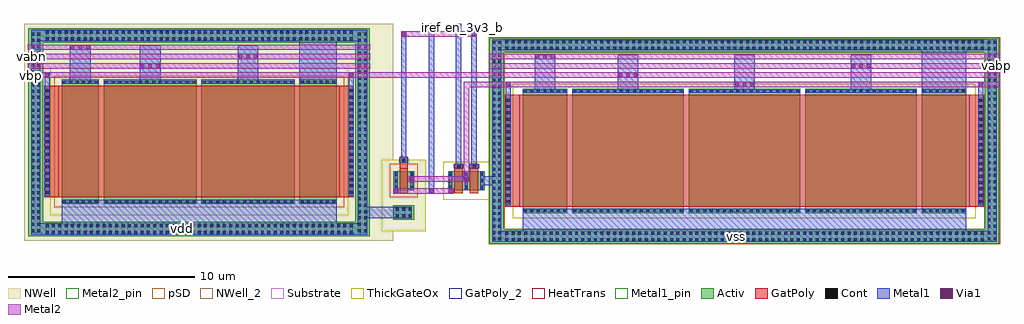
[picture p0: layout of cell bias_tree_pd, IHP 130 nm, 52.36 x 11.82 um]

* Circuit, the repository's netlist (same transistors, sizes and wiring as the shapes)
* SPDX-FileCopyrightText: 2026 Christoph Maier
* SPDX-License-Identifier: Apache-2.0
* bias_tree_pd as drawn by agent F (C2 2026-10-31): the sheet's bias_tree_pd WITHOUT Xd = bias_diodes (BP, BN,
* BNC, BPC are drawn in the tails, sinks and cascode cells); the library dummies as devices.
.SUBCKT bias_tree_pd vdd vss iref vbp vbn vbpc vbnc vabp vabn en_3v3 en_3v3_b
MTGN iref en_3v3 ni vss sg13_hv_nmos w=1u l=0.45u ng=1 m=1
MTGP iref en_3v3_b ni vdd sg13_hv_pmos w=1u l=0.45u ng=1 m=1
MTDN ni en_3v3_b vss vss sg13_hv_nmos w=1u l=0.45u ng=1 m=1
MNI ni ni vss vss sg13_hv_nmos w=6u l=6u ng=1 m=1
MNBP vbp ni vss vss sg13_hv_nmos w=6u l=6u ng=1 m=1
MNBPC vbpc ni vss vss sg13_hv_nmos w=2.4u l=6u ng=1 m=1
MNABP vabp ni vss vss sg13_hv_nmos w=6u l=6u ng=1 m=1
MNdummy vss ni vss vss sg13_hv_nmos w=2.4u l=6u ng=1 m=1
MPBN vbn vbp vdd vdd sg13_hv_pmos w=5u l=6u ng=1 m=1
MPBNC vbnc vbp vdd vdd sg13_hv_pmos w=2u l=6u ng=1 m=1
MPABN vabn vbp vdd vdd sg13_hv_pmos w=5u l=6u ng=1 m=1
MPdummy vdd vbp vdd vdd sg13_hv_pmos w=2u l=6u ng=1 m=1
.ENDS bias_tree_pd

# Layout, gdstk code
from math import pi, radians
import gdstk
lib = gdstk.Library(unit=1e-6, precision=1e-09)
def R(c, l, rs):  # rectangles x0, y0, x1, y1
    for r in rs: c.add(gdstk.rectangle(r[:2], r[2:], *l))
def A(c, l, x, y, w, h, nx, ny, dx, dy):  # array of equal rectangles
    R(c, l, [(x+i*dx, y+j*dy, x+i*dx+w, y+j*dy+h) for i in range(nx) for j in range(ny)])
Activ = (1, 0)
GatPoly = (5, 0)
GatPoly_2 = (5, 2)
Cont = (6, 0)
Metal1 = (8, 0)
Metal1_pin = (8, 2)
Metal2 = (10, 0)
Metal2_pin = (10, 2)
pSD = (14, 0)
Via1 = (19, 0)
NWell = (31, 0)
NWell_2 = (31, 2)
Substrate = (40, 0)
ThickGateOx = (44, 0)
HeatTrans = (51, 0)

pmoshv_8 = lib.new_cell('pmosHV$8')
R(pmoshv_8, Activ, [(0,0,0.3,0.3), (0,0,6.68,2), (6.38,0,6.68,0.3)])
R(pmoshv_8, GatPoly, [(0.34,-0.18,6.34,2.18)])
R(pmoshv_8, GatPoly_2, [(0.34,-0.18,6.34,2.18)])
A(pmoshv_8, Cont, 0.07, 0.07, 0.16, 0.16, 1, 6, 0, 0.34)
A(pmoshv_8, Cont, 6.45, 0.07, 0.16, 0.16, 1, 6, 0, 0.34)
R(pmoshv_8, Metal1, [(0.07,0,0.23,2), (6.45,0,6.61,2)])
R(pmoshv_8, Metal1_pin, [(0.07,0,0.23,2), (6.45,0,6.61,2)])
R(pmoshv_8, pSD, [(-0.18,-0.4,6.86,2.4)])
R(pmoshv_8, NWell, [(-0.62,-0.62,7.3,2.62)])
R(pmoshv_8, ThickGateOx, [(-0.62,-0.62,7.3,2.62)])
R(pmoshv_8, HeatTrans, [(0.34,-0.18,6.34,2.18)])
pmoshv_8.add(gdstk.Label('pmosHV', (3.34,1), layer=63, texttype=0))
pmoshv_8.add(gdstk.Label('pmos', (3.34,1), layer=51, texttype=0))

pmoshv_1 = lib.new_cell('pmosHV$1')
R(pmoshv_1, Activ, [(0,0,0.3,0.3), (0,0,6.68,5), (6.38,0,6.68,0.3)])
R(pmoshv_1, GatPoly, [(0.34,-0.18,6.34,5.18)])
R(pmoshv_1, GatPoly_2, [(0.34,-0.18,6.34,5.18)])
A(pmoshv_1, Cont, 0.07, 0.07, 0.16, 0.16, 1, 4, 0, 0.36)
A(pmoshv_1, Cont, 6.45, 0.07, 0.16, 0.16, 1, 4, 0, 0.36)
A(pmoshv_1, Cont, 0.07, 1.515, 0.16, 0.16, 1, 3, 0, 0.36)
A(pmoshv_1, Cont, 6.45, 1.515, 0.16, 0.16, 1, 3, 0, 0.36)
A(pmoshv_1, Cont, 0.07, 2.6, 0.16, 0.16, 1, 3, 0, 0.36)
A(pmoshv_1, Cont, 6.45, 2.6, 0.16, 0.16, 1, 3, 0, 0.36)
A(pmoshv_1, Cont, 0.07, 3.685, 0.16, 0.16, 1, 3, 0, 0.36)
A(pmoshv_1, Cont, 6.45, 3.685, 0.16, 0.16, 1, 3, 0, 0.36)
R(pmoshv_1, Cont, [(0.07,4.77,0.23,4.93), (6.45,4.77,6.61,4.93)])
R(pmoshv_1, Metal1, [(0.07,0,0.23,5), (6.45,0,6.61,5)])
R(pmoshv_1, Metal1_pin, [(0.07,0,0.23,5), (6.45,0,6.61,5)])
R(pmoshv_1, pSD, [(-0.18,-0.4,6.86,5.4)])
R(pmoshv_1, NWell, [(-0.62,-0.62,7.3,5.62)])
R(pmoshv_1, ThickGateOx, [(-0.62,-0.62,7.3,5.62)])
R(pmoshv_1, HeatTrans, [(0.34,-0.18,6.34,5.18)])
pmoshv_1.add(gdstk.Label('pmosHV', (3.34,2.5), layer=63, texttype=0))
pmoshv_1.add(gdstk.Label('pmos', (3.34,2.5), layer=51, texttype=0))

ntap1_28 = lib.new_cell('ntap1$28')
R(ntap1_28, Activ, [(0,0,0.78,11.155)])
A(ntap1_28, Cont, 0.14, 0.225, 0.16, 0.16, 1, 32, 0, 0.34)
A(ntap1_28, Cont, 0.48, 0.225, 0.16, 0.16, 1, 32, 0, 0.34)
R(ntap1_28, Metal1, [(0.14,0.175,0.64,10.975)])
R(ntap1_28, Metal1_pin, [(0.14,0.175,0.64,10.975), (0.14,0.225,0.64,10.925)])
R(ntap1_28, NWell, [(-0.24,-0.24,1.02,11.395), (0,0,0.78,11.155)])
R(ntap1_28, NWell_2, [(0,0,0.78,11.155)])
ntap1_28.add(gdstk.Label('well', (0.39,0.01), layer=63, texttype=0))
ntap1_28.add(gdstk.Label('well', (0.39,0.01), layer=31, texttype=0))

ntap1_29 = lib.new_cell('ntap1$29')
R(ntap1_29, Activ, [(0,0,16.75,0.78)])
A(ntap1_29, Cont, 0.135, 0.14, 0.16, 0.16, 49, 2, 0.34, 0.34)
R(ntap1_29, Metal1, [(0.135,0.09,16.615,0.69)])
R(ntap1_29, Metal1_pin, [(0.135,0.09,16.615,0.69), (0.135,0.14,16.615,0.64)])
R(ntap1_29, NWell, [(-0.24,-0.24,16.99,1.02), (0,0,16.75,0.78)])
R(ntap1_29, NWell_2, [(0,0,16.75,0.78)])
ntap1_29.add(gdstk.Label('well', (8.375,0.01), layer=63, texttype=0))
ntap1_29.add(gdstk.Label('well', (8.375,0.01), layer=31, texttype=0))

bias_tree_p = lib.new_cell('bias_tree_p')
R(bias_tree_p, GatPoly, [(-0.93,0.34,-0.18,6.34), (14.93,0.34,15.68,6.34)])
A(bias_tree_p, Cont, -0.86, 0.54, 0.16, 0.16, 1, 17, 0, 0.34)
A(bias_tree_p, Cont, 15.45, 0.54, 0.16, 0.16, 1, 17, 0, 0.34)
R(bias_tree_p, Metal1, [(-1.64,-1.65,16.39,-1.565), (-1.24,-1.65,-0.765,-1.05), (0,-1.65,14.75,0.23), (15.515,-1.65,15.99,-1.05), (-0.91,0.41,-0.65,7.055), (15.4,0.41,15.66,7.055), (0.445,6.45,1.555,8.505), (4.195,6.45,5.305,8.505), (9.445,6.45,10.555,8.505), (12.75,6.45,14.75,8.825), (-1.24,8.725,-0.765,9.325), (15.515,8.725,15.99,9.325), (-1.64,9.235,16.39,9.325)])
R(bias_tree_p, Metal1_pin, [(-0.865,-1.65,15.615,-1.05)])
A(bias_tree_p, Metal2_pin, -1.81, 6.755, 0.4, 0.29, 1, 4, 0, 0.5)
A(bias_tree_p, Via1, 4.245, 7.305, 0.19, 0.19, 3, 1, 0.41, 0)
A(bias_tree_p, Via1, 9.495, 7.805, 0.19, 0.19, 3, 1, 0.41, 0)
A(bias_tree_p, Via1, 0.495, 8.305, 0.19, 0.19, 3, 1, 0.41, 0)
R(bias_tree_p, Via1, [(-0.875,6.805,-0.685,6.995), (15.435,6.805,15.625,6.995)])
R(bias_tree_p, NWell, [(-2.02,-1.98,16.77,9.655)])
R(bias_tree_p, ThickGateOx, [(-0.62,-0.62,15.37,7.3)])
bias_tree_p.add(gdstk.FlexPath([(-1.665,6.9),(16.415,6.9)], 0.29, ends="extended", simple_path=True, layer=10, datatype=0))  # Metal2
bias_tree_p.add(gdstk.FlexPath([(-1.665,7.4),(16.415,7.4)], 0.29, ends="extended", simple_path=True, layer=10, datatype=0))  # Metal2
bias_tree_p.add(gdstk.FlexPath([(-1.665,7.9),(16.415,7.9)], 0.29, ends="extended", simple_path=True, layer=10, datatype=0))  # Metal2
bias_tree_p.add(gdstk.FlexPath([(-1.665,8.4),(16.415,8.4)], 0.29, ends="extended", simple_path=True, layer=10, datatype=0))  # Metal2
bias_tree_p.add(gdstk.Reference(pmoshv_8, (0,6.68), rotation=3*pi/2))
r = gdstk.Reference(pmoshv_1, (2.25,6.68), rotation=3*pi/2); r.repetition = gdstk.Repetition(1, 2, v1=(0,0), v2=(5.25,0)); bias_tree_p.add(r)
bias_tree_p.add(gdstk.Reference(pmoshv_8, (12.75,6.68), rotation=3*pi/2))
bias_tree_p.add(gdstk.Reference(ntap1_28, (-1.78,-1.74)))
bias_tree_p.add(gdstk.Reference(ntap1_28, (15.75,-1.74)))
bias_tree_p.add(gdstk.Reference(ntap1_29, (-1,8.635)))
bias_tree_p.add(gdstk.Reference(ntap1_29, (-1,-1.74)))
bias_tree_p.add(gdstk.Label('PBNC', (1,3.34), layer=63, texttype=0))
bias_tree_p.add(gdstk.Label('PBN', (4.75,3.34), layer=63, texttype=0))
bias_tree_p.add(gdstk.Label('PABN', (10,3.34), layer=63, texttype=0))
bias_tree_p.add(gdstk.Label('dummy', (13.75,3.34), layer=63, texttype=0))
bias_tree_p.add(gdstk.Label('vdd', (7.375,-1.35), layer=8, texttype=25))
bias_tree_p.add(gdstk.Label('vbp', (-1.61,6.9), layer=10, texttype=25))
bias_tree_p.add(gdstk.Label('vbn', (-1.61,7.4), layer=10, texttype=25))
bias_tree_p.add(gdstk.Label('vabn', (-1.61,7.9), layer=10, texttype=25))
bias_tree_p.add(gdstk.Label('vbnc', (-1.61,8.4), layer=10, texttype=25))

pmoshv_7 = lib.new_cell('pmosHV$7')
R(pmoshv_7, Activ, [(0,0,0.3,0.3), (0,0,1.13,1), (0.83,0,1.13,0.3)])
R(pmoshv_7, GatPoly, [(0.34,-0.18,0.79,1.18)])
R(pmoshv_7, GatPoly_2, [(0.34,-0.18,0.79,1.18)])
A(pmoshv_7, Cont, 0.07, 0.07, 0.16, 0.16, 1, 3, 0, 0.35)
A(pmoshv_7, Cont, 0.9, 0.07, 0.16, 0.16, 1, 3, 0, 0.35)
R(pmoshv_7, Metal1, [(0.07,0,0.23,1), (0.9,0,1.06,1)])
R(pmoshv_7, Metal1_pin, [(0.07,0,0.23,1), (0.9,0,1.06,1)])
R(pmoshv_7, pSD, [(-0.18,-0.4,1.31,1.4)])
R(pmoshv_7, NWell, [(-0.62,-0.62,1.75,1.62)])
R(pmoshv_7, ThickGateOx, [(-0.62,-0.62,1.75,1.62)])
R(pmoshv_7, HeatTrans, [(0.34,-0.18,0.79,1.18)])
pmoshv_7.add(gdstk.Label('pmosHV', (0.565,0.5), layer=63, texttype=0))
pmoshv_7.add(gdstk.Label('pmos', (0.565,0.5), layer=51, texttype=0))

ntap1_11 = lib.new_cell('ntap1$11')
R(ntap1_11, Activ, [(0,0,1.13,0.78)])
A(ntap1_11, Cont, 0.145, 0.14, 0.16, 0.16, 3, 2, 0.34, 0.34)
R(ntap1_11, Metal1, [(0.145,0.09,0.985,0.69)])
R(ntap1_11, Metal1_pin, [(0.145,0.09,0.985,0.69), (0.145,0.14,0.985,0.64)])
R(ntap1_11, NWell, [(-0.24,-0.24,1.37,1.02), (0,0,1.13,0.78)])
R(ntap1_11, NWell_2, [(0,0,1.13,0.78)])
ntap1_11.add(gdstk.Label('well', (0.565,0.01), layer=63, texttype=0))
ntap1_11.add(gdstk.Label('well', (0.565,0.01), layer=31, texttype=0))

bias_tree_swp = lib.new_cell('bias_tree_swp')
R(bias_tree_swp, GatPoly, [(0.34,1,0.79,1.43), (0.34,1.42,0.79,1.78)])
R(bias_tree_swp, Cont, [(0.485,1.52,0.645,1.68)])
R(bias_tree_swp, Metal1, [(0.315,1.47,0.815,1.73)])
R(bias_tree_swp, Metal1_pin, [(0.145,-1.51,0.545,-0.91), (0.07,0.25,0.23,0.75), (0.9,0.25,1.06,0.75), (0.315,1.47,0.615,1.73)])
R(bias_tree_swp, pSD, [(-0.18,-0.4,1.31,1.4)])
R(bias_tree_swp, NWell, [(-0.62,-2.22,1.75,1.62)])
R(bias_tree_swp, ThickGateOx, [(-0.62,-2.22,1.75,1.62)])
bias_tree_swp.add(gdstk.Reference(pmoshv_7, (0,0)))
bias_tree_swp.add(gdstk.Reference(ntap1_11, (0,-1.6)))
bias_tree_swp.add(gdstk.Label('TGP', (0,0.5), layer=63, texttype=0))
bias_tree_swp.add(gdstk.Label('en_3v3_b', (0.465,1.6), layer=8, texttype=25))
bias_tree_swp.add(gdstk.Label('vdd', (0.345,-1.21), layer=8, texttype=25))
bias_tree_swp.add(gdstk.Label('iref', (0.15,0.5), layer=8, texttype=25))
bias_tree_swp.add(gdstk.Label('ni', (0.98,0.5), layer=8, texttype=25))

nmoshv_5 = lib.new_cell('nmosHV$5')
R(nmoshv_5, Activ, [(0,0,0.3,0.3), (0,0,1.13,1), (0.83,0,1.13,0.3)])
R(nmoshv_5, GatPoly, [(0.34,-0.18,0.79,1.18)])
R(nmoshv_5, GatPoly_2, [(0.34,-0.18,0.79,1.18)])
A(nmoshv_5, Cont, 0.07, 0.07, 0.16, 0.16, 1, 3, 0, 0.35)
A(nmoshv_5, Cont, 0.9, 0.07, 0.16, 0.16, 1, 3, 0, 0.35)
R(nmoshv_5, Metal1, [(0.07,0,0.23,1), (0.9,0,1.06,1)])
R(nmoshv_5, Metal1_pin, [(0.07,0,0.23,1), (0.9,0,1.06,1)])
R(nmoshv_5, ThickGateOx, [(-0.27,-0.52,1.4,1.52)])
R(nmoshv_5, HeatTrans, [(0.34,-0.18,0.79,1.18)])
nmoshv_5.add(gdstk.Label('nmosHV', (0.565,0.5), layer=63, texttype=0))
nmoshv_5.add(gdstk.Label('nmosHV', (0.565,0.5), layer=51, texttype=0))

bias_tree_sw = lib.new_cell('bias_tree_sw')
R(bias_tree_sw, GatPoly, [(0.34,1.18,0.79,1.41), (1.17,1.18,1.62,1.41)])
R(bias_tree_sw, Cont, [(0.485,1.18,0.645,1.34), (1.315,1.18,1.475,1.34)])
R(bias_tree_sw, Metal1, [(0.3,1.18,0.83,1.39), (1.13,1.18,1.66,1.39)])
A(bias_tree_sw, Metal1_pin, 0.07, 0.25, 0.16, 0.5, 3, 1, 0.83, 0)
R(bias_tree_sw, Metal1_pin, [(0.42,1.18,0.71,1.39), (1.25,1.18,1.54,1.39)])
r = gdstk.Reference(nmoshv_5, (0,0)); r.repetition = gdstk.Repetition(2, 1, v1=(0.83,0), v2=(0,0)); bias_tree_sw.add(r)
bias_tree_sw.add(gdstk.Label('TDN', (0.83,0.5), layer=63, texttype=0))
bias_tree_sw.add(gdstk.Label('TGN', (0,0.5), layer=63, texttype=0))
bias_tree_sw.add(gdstk.Label('en_3v3', (0.565,1.285), layer=8, texttype=25))
bias_tree_sw.add(gdstk.Label('en_3v3_b', (1.395,1.285), layer=8, texttype=25))
bias_tree_sw.add(gdstk.Label('vss', (1.81,0.52), layer=8, texttype=25))
bias_tree_sw.add(gdstk.Label('ni', (0.992,0.502), layer=8, texttype=25))
bias_tree_sw.add(gdstk.Label('iref', (0.15,0.5), layer=8, texttype=25))

nmoshv_6 = lib.new_cell('nmosHV$6')
R(nmoshv_6, Activ, [(0,0,0.3,0.3), (0,0,6.68,2.4), (6.38,0,6.68,0.3)])
R(nmoshv_6, GatPoly, [(0.34,-0.18,6.34,2.58)])
R(nmoshv_6, GatPoly_2, [(0.34,-0.18,6.34,2.58)])
A(nmoshv_6, Cont, 0.07, 0.07, 0.16, 0.16, 1, 7, 0, 0.35)
A(nmoshv_6, Cont, 6.45, 0.07, 0.16, 0.16, 1, 7, 0, 0.35)
R(nmoshv_6, Metal1, [(0.07,0,0.23,2.4), (6.45,0,6.61,2.4)])
R(nmoshv_6, Metal1_pin, [(0.07,0,0.23,2.4), (6.45,0,6.61,2.4)])
R(nmoshv_6, ThickGateOx, [(-0.27,-0.52,6.95,2.92)])
R(nmoshv_6, HeatTrans, [(0.34,-0.18,6.34,2.58)])
nmoshv_6.add(gdstk.Label('nmosHV', (3.34,1.2), layer=63, texttype=0))
nmoshv_6.add(gdstk.Label('nmosHV', (3.34,1.2), layer=51, texttype=0))

nmoshv = lib.new_cell('nmosHV')
R(nmoshv, Activ, [(0,0,0.3,0.3), (0,0,6.68,6), (6.38,0,6.68,0.3)])
R(nmoshv, GatPoly, [(0.34,-0.18,6.34,6.18)])
R(nmoshv, GatPoly_2, [(0.34,-0.18,6.34,6.18)])
A(nmoshv, Cont, 0.07, 0.07, 0.16, 0.16, 1, 4, 0, 0.355)
A(nmoshv, Cont, 6.45, 0.07, 0.16, 0.16, 1, 4, 0, 0.355)
A(nmoshv, Cont, 0.07, 1.495, 0.16, 0.16, 1, 4, 0, 0.355)
A(nmoshv, Cont, 6.45, 1.495, 0.16, 0.16, 1, 4, 0, 0.355)
A(nmoshv, Cont, 0.07, 2.92, 0.16, 0.16, 1, 4, 0, 0.355)
A(nmoshv, Cont, 6.45, 2.92, 0.16, 0.16, 1, 4, 0, 0.355)
A(nmoshv, Cont, 0.07, 4.345, 0.16, 0.16, 1, 4, 0, 0.355)
A(nmoshv, Cont, 6.45, 4.345, 0.16, 0.16, 1, 4, 0, 0.355)
R(nmoshv, Cont, [(0.07,5.77,0.23,5.93), (6.45,5.77,6.61,5.93)])
R(nmoshv, Metal1, [(0.07,0,0.23,6), (6.45,0,6.61,6)])
R(nmoshv, Metal1_pin, [(0.07,0,0.23,6), (6.45,0,6.61,6)])
R(nmoshv, ThickGateOx, [(-0.27,-0.52,6.95,6.52)])
R(nmoshv, HeatTrans, [(0.34,-0.18,6.34,6.18)])
nmoshv.add(gdstk.Label('nmosHV', (3.34,3), layer=63, texttype=0))
nmoshv.add(gdstk.Label('nmosHV', (3.34,3), layer=51, texttype=0))

ptap1_26 = lib.new_cell('ptap1$26')
R(ptap1_26, Activ, [(0,0,0.78,11.05)])
A(ptap1_26, Cont, 0.14, 0.175, 0.16, 0.16, 1, 32, 0, 0.34)
A(ptap1_26, Cont, 0.48, 0.175, 0.16, 0.16, 1, 32, 0, 0.34)
R(ptap1_26, Metal1, [(0.14,0.125,0.64,10.925), (0.14,0.175,0.64,10.875)])
R(ptap1_26, Metal1_pin, [(0.14,0.175,0.64,10.875)])
R(ptap1_26, pSD, [(-0.03,-0.03,0.81,11.08)])
R(ptap1_26, Substrate, [(0,0,0.78,11.05)])
ptap1_26.add(gdstk.Label('sub!', (0.39,0.01), layer=63, texttype=0))
ptap1_26.add(gdstk.Label('sub!', (0.39,0.01), layer=40, texttype=0))

ptap1_27 = lib.new_cell('ptap1$27')
R(ptap1_27, Activ, [(0,0,25.8,0.78)])
A(ptap1_27, Cont, 0.07, 0.14, 0.16, 0.16, 76, 2, 0.34, 0.34)
R(ptap1_27, Metal1, [(0.07,0.09,25.73,0.69), (0.07,0.14,25.73,0.64)])
R(ptap1_27, Metal1_pin, [(0.07,0.14,25.73,0.64)])
R(ptap1_27, pSD, [(-0.03,-0.03,25.83,0.81)])
R(ptap1_27, Substrate, [(0,0,25.8,0.78)])
ptap1_27.add(gdstk.Label('sub!', (12.9,0.01), layer=63, texttype=0))
ptap1_27.add(gdstk.Label('sub!', (12.9,0.01), layer=40, texttype=0))

bias_tree_n = lib.new_cell('bias_tree_n')
R(bias_tree_n, GatPoly, [(-0.93,0.34,-0.18,6.34), (23.98,0.34,24.73,6.34)])
A(bias_tree_n, Cont, -0.86, 0.54, 0.16, 0.16, 1, 17, 0, 0.34)
A(bias_tree_n, Cont, 24.5, 0.54, 0.16, 0.16, 1, 17, 0, 0.34)
A(bias_tree_n, Metal1, 5.095, 6.45, 1.11, 2.055, 3, 1, 6.25, 0)
R(bias_tree_n, Metal1, [(-1.64,-1.545,25.44,-1.51), (-1.24,-1.545,-0.83,-0.945), (0,-1.545,23.8,0.23), (24.63,-1.545,25.04,-0.945), (-0.91,0.41,-0.65,7.055), (24.45,0.41,24.71,7.055), (0.645,6.45,1.755,8.505), (21.4,6.45,23.8,8.825), (-1.24,8.725,-0.83,9.325), (24.63,8.725,25.04,9.325), (-1.64,9.29,25.44,9.325)])
R(bias_tree_n, Metal1_pin, [(-0.93,-1.545,24.73,-0.945)])
A(bias_tree_n, Metal2_pin, -1.81, 6.755, 0.4, 0.29, 1, 4, 0, 0.5)
A(bias_tree_n, Via1, 11.395, 6.805, 0.19, 0.19, 3, 1, 0.41, 0)
A(bias_tree_n, Via1, 5.145, 7.305, 0.19, 0.19, 3, 1, 0.41, 0)
A(bias_tree_n, Via1, 17.645, 7.805, 0.19, 0.19, 3, 1, 0.41, 0)
A(bias_tree_n, Via1, 0.695, 8.305, 0.19, 0.19, 3, 1, 0.41, 0)
R(bias_tree_n, Via1, [(-0.875,6.805,-0.685,6.995), (24.485,6.805,24.675,6.995)])
R(bias_tree_n, ThickGateOx, [(-0.52,-0.27,24.32,6.95)])
bias_tree_n.add(gdstk.FlexPath([(-1.665,6.9),(25.465,6.9)], 0.29, ends="extended", simple_path=True, layer=10, datatype=0))  # Metal2
bias_tree_n.add(gdstk.FlexPath([(-1.665,7.4),(25.465,7.4)], 0.29, ends="extended", simple_path=True, layer=10, datatype=0))  # Metal2
bias_tree_n.add(gdstk.FlexPath([(-1.665,7.9),(25.465,7.9)], 0.29, ends="extended", simple_path=True, layer=10, datatype=0))  # Metal2
bias_tree_n.add(gdstk.FlexPath([(-1.665,8.4),(25.465,8.4)], 0.29, ends="extended", simple_path=True, layer=10, datatype=0))  # Metal2
bias_tree_n.add(gdstk.Reference(nmoshv_6, (0,6.68), rotation=3*pi/2))
r = gdstk.Reference(nmoshv, (2.65,6.68), rotation=3*pi/2); r.repetition = gdstk.Repetition(1, 3, v1=(0,0), v2=(6.25,0)); bias_tree_n.add(r)
bias_tree_n.add(gdstk.Reference(nmoshv_6, (21.4,6.68), rotation=3*pi/2))
bias_tree_n.add(gdstk.Reference(ptap1_26, (-1.78,-1.635)))
bias_tree_n.add(gdstk.Reference(ptap1_26, (24.8,-1.635)))
bias_tree_n.add(gdstk.Reference(ptap1_27, (-1,8.635)))
bias_tree_n.add(gdstk.Reference(ptap1_27, (-1,-1.635)))
bias_tree_n.add(gdstk.Label('NBPC', (1.2,3.34), layer=63, texttype=0))
bias_tree_n.add(gdstk.Label('NBP', (5.65,3.34), layer=63, texttype=0))
bias_tree_n.add(gdstk.Label('NI', (11.9,3.34), layer=63, texttype=0))
bias_tree_n.add(gdstk.Label('NABP', (18.15,3.34), layer=63, texttype=0))
bias_tree_n.add(gdstk.Label('dummy', (22.6,3.34), layer=63, texttype=0))
bias_tree_n.add(gdstk.Label('vss', (11.9,-1.245), layer=8, texttype=25))
bias_tree_n.add(gdstk.Label('ni', (-1.61,6.9), layer=10, texttype=25))
bias_tree_n.add(gdstk.Label('vbp', (-1.61,7.4), layer=10, texttype=25))
bias_tree_n.add(gdstk.Label('vabp', (-1.61,7.9), layer=10, texttype=25))
bias_tree_n.add(gdstk.Label('vbpc', (-1.61,8.4), layer=10, texttype=25))

bias_tree_pd = lib.new_cell('bias_tree_pd')
R(bias_tree_pd, Metal1, [(18.02,1.21,20.355,1.81), (19.815,2.525,20.105,2.815), (19.88,2.525,20.04,3.02), (21.71,2.525,22,11.635), (22.755,2.525,23.045,2.815), (22.82,2.525,22.98,3.02), (24.48,2.97,25.35,3.47), (20.645,3.175,20.935,3.465), (23.585,3.175,23.875,3.465), (23.17,3.9,23.46,11.635), (24,3.9,24.29,11.635), (20.23,4.19,20.52,11.23)])
R(bias_tree_pd, Metal1_pin, [(37.75,-0.065,38.75,0.535), (8.02,0.33,9.02,0.93), (21.71,11.235,22,11.635), (23.17,11.235,23.46,11.635), (24,11.235,24.29,11.635)])
R(bias_tree_pd, Metal2, [(19.815,2.525,23.045,2.815), (20.645,3.175,23.875,3.465), (23.585,3.175,23.875,8.525), (23.585,8.235,25.04,8.525), (18.48,8.735,25.04,9.025), (20.23,10.94,24.29,11.23)])
A(bias_tree_pd, Metal2_pin, 0.21, 8.735, 0.4, 0.29, 1, 4, 0, 0.5)
R(bias_tree_pd, Metal2_pin, [(51.96,9.235,52.36,9.525), (51.96,9.735,52.36,10.025)])
R(bias_tree_pd, Via1, [(19.865,2.575,20.055,2.765), (21.76,2.575,21.95,2.765), (22.805,2.575,22.995,2.765), (20.695,3.225,20.885,3.415), (23.635,3.225,23.825,3.415), (20.28,10.99,20.47,11.18), (24.05,10.99,24.24,11.18)])
R(bias_tree_pd, NWell, [(18.02,0,19.81,11.635)])
bias_tree_pd.add(gdstk.Reference(bias_tree_p, (2.02,1.98)))
bias_tree_pd.add(gdstk.Reference(bias_tree_swp, (19.81,2.72)))
bias_tree_pd.add(gdstk.Reference(bias_tree_sw, (22.75,2.72)))
bias_tree_pd.add(gdstk.Reference(bias_tree_n, (26.75,1.48)))
bias_tree_pd.add(gdstk.Label('iref', (21.855,11.435), layer=8, texttype=25))
bias_tree_pd.add(gdstk.Label('en_3v3_b', (24.145,11.435), layer=8, texttype=25))
bias_tree_pd.add(gdstk.Label('en_3v3', (23.315,11.435), layer=8, texttype=25))
bias_tree_pd.add(gdstk.Label('vdd', (8.52,0.63), layer=8, texttype=25))
bias_tree_pd.add(gdstk.Label('vss', (38.25,0.235), layer=8, texttype=25))
bias_tree_pd.add(gdstk.Label('vbp', (0.41,8.88), layer=10, texttype=25))
bias_tree_pd.add(gdstk.Label('vbn', (0.41,9.38), layer=10, texttype=25))
bias_tree_pd.add(gdstk.Label('vabn', (0.41,9.88), layer=10, texttype=25))
bias_tree_pd.add(gdstk.Label('vbnc', (0.41,10.38), layer=10, texttype=25))
bias_tree_pd.add(gdstk.Label('vabp', (52.16,9.38), layer=10, texttype=25))
bias_tree_pd.add(gdstk.Label('vbpc', (52.16,9.88), layer=10, texttype=25))

lib.write_gds('bias_tree_pd.gds')
